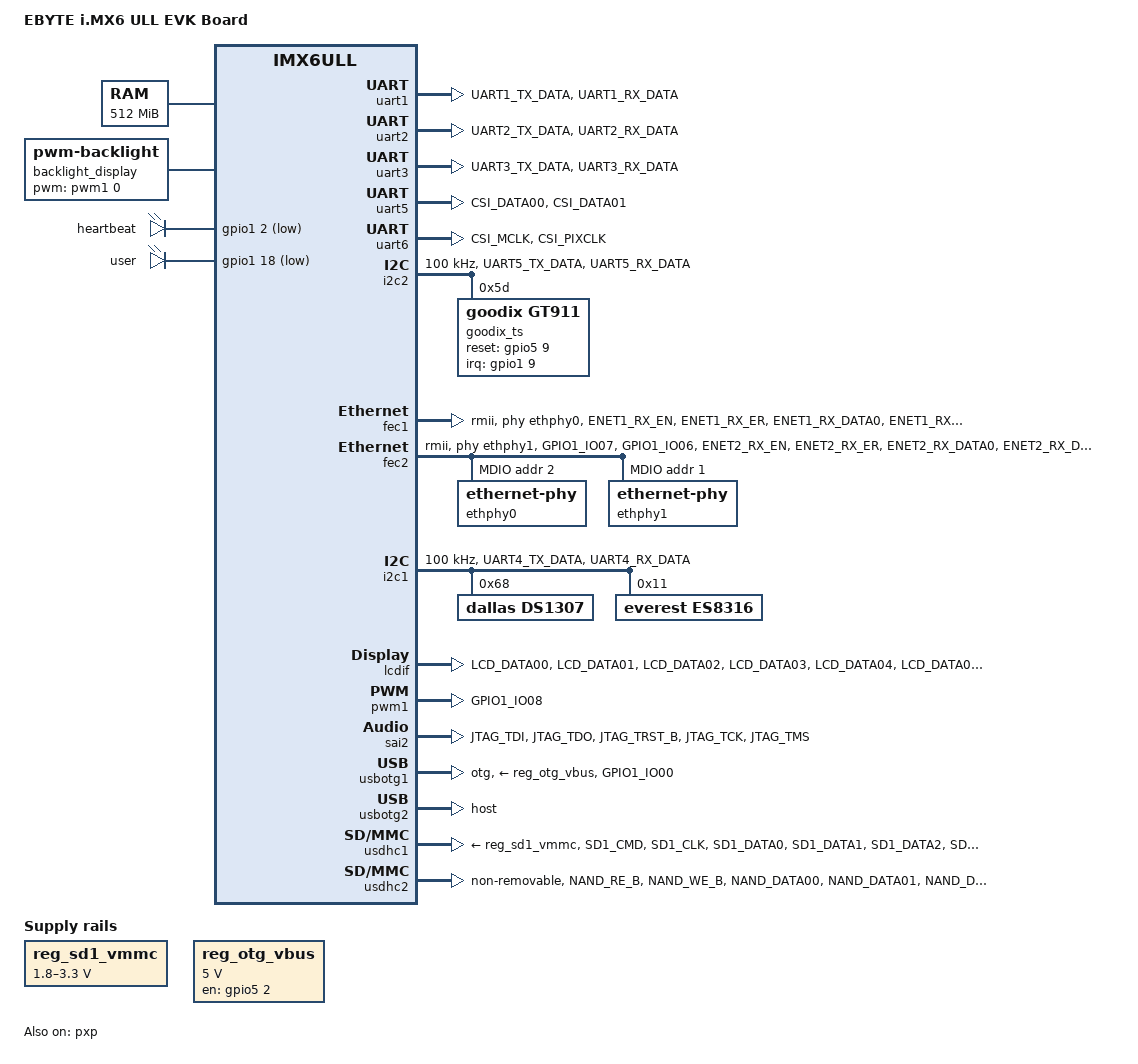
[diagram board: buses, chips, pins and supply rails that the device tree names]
// SPDX-License-Identifier: (GPL-2.0 OR MIT)
//
// Copyright (C) 2016 Freescale Semiconductor, Inc.

/dts-v1/;

#include "imx6ull.dtsi"
#include <dt-bindings/phy/jlsemi-dt-phy.h>

/ {
	model = "EBYTE i.MX6 ULL EVK Board";
	compatible = "ebyte,imx6ull-evk-board", "fsl,imx6ull";

	chosen {
		stdout-path = &uart1;
	};

	memory@80000000 {
		device_type = "memory";
		reg = <0x80000000 0x20000000>;
	};

	reserved-memory {
		#address-cells = <1>;
		#size-cells = <1>;
		ranges;

		linux,cma {
			compatible = "shared-dma-pool";
			reusable;
			size = <0x8000000>;
			linux,cma-default;
		};
	};

	pxp_v4l2 {
		compatible = "fsl,imx6ul-pxp-v4l2", "fsl,imx6sx-pxp-v4l2", "fsl,imx6sl-pxp-v4l2";
		status = "okay";
	};

	backlight_display: backlight-display {
		compatible = "pwm-backlight";
		pwms = <&pwm1 0 1000000>;
		brightness-levels = <0 4 8 16 32 64 128 255>;
		default-brightness-level = <7>;
		status = "okay";
	};

	reg_sd1_vmmc: regulator-sd1-vmmc {
		regulator-type ="voltage";
		compatible = "regulator-gpio";
		pinctrl-names = "default";
		pinctrl-0 = <&pinctrl_sd1_vselect>;
		regulator-name = "VSD_3V3_1V8";
		regulator-min-microvolt = <1800000>;
		regulator-max-microvolt = <3300000>;
		gpio = <&gpio1 5 GPIO_ACTIVE_HIGH>;
		states = <3300000 0x0 1800000 0x1>;
	};

	reg_otg_vbus: regulator-usbotg1_vbus {
		compatible = "regulator-fixed";
		regulator-type ="voltage";
		pinctrl-names = "default";
		pinctrl-0 = <&pinctrl_otg_vbus>;
		regulator-name = "VBUS_5V";
		regulator-min-microvolt = <5000000>;
		regulator-max-microvolt = <5000000>;
		gpio = <&gpio5 2 GPIO_ACTIVE_HIGH>;
		enable-active-high;
	};

	sound-es8316 {
		compatible = "simple-audio-card";
		simple-audio-card,name = "ES8316";
		simple-audio-card,format = "i2s";

		simple-audio-card,widgets =
			"Microphone", "MIC Jack",
			"Headphone", "Headphones";
		simple-audio-card,routing =
			"MIC1", "MIC Jack",	/* mic2 is link to GND */
			"Headphones", "HPOL",
			"Headphones", "HPOR";

		simple-audio-card,cpu {
			sound-dai = <&sai2>;
		};

		dailink_master: simple-audio-card,codec {
			sound-dai = <&es8316>;
		};
	};

	leds: leds@0 {
		compatible = "gpio-leds";
		pinctrl-names = "default";
		pinctrl-0 = <&pinctrl_gpio_leds>;

		heartbeat {
			label = "heartbeat";
			gpios = <&gpio1 2 GPIO_ACTIVE_LOW>;
			linux,default-trigger = "heartbeat";
			default-state = "on";
		};

		user {
			label = "user";
			gpios = <&gpio1 18 GPIO_ACTIVE_LOW>;
			default-state = "off";
		};
	};
};

&snvs_poweroff {
	status = "okay";
	value = <0x340060>;
	mask = <0x340060>;
};

&snvs_pwrkey {
	status = "disabled";	// disable short press shutdown function
};

&pxp {
	status = "okay";
};

&uart1 {
	pinctrl-names = "default";
	pinctrl-0 = <&pinctrl_uart1>;
	status = "okay";
};

&uart2 {
	pinctrl-names = "default";
	pinctrl-0 = <&pinctrl_uart2>;
	status = "okay";
};

&uart3 {
	pinctrl-names = "default";
	pinctrl-0 = <&pinctrl_uart3>;
	status = "okay";
};

&uart5 {
	pinctrl-names = "default";
	pinctrl-0 = <&pinctrl_uart5>;
	status = "okay";
};

&uart6 {
	pinctrl-names = "default";
	pinctrl-0 = <&pinctrl_uart6>;
	status = "okay";
};

&i2c2 {
	clock-frequency = <100000>;
	pinctrl-names = "default";
	pinctrl-0 = <&pinctrl_i2c2>;
	status = "okay";

	goodix_ts@5d {
		compatible = "goodix,gt911";
		reg = <0x5d>;
		touchscreen-size-x = <1024>;
		touchscreen-size-y = <600>;
		pinctrl-0 = <&ts_int_pin &pinctrl_sii902x_reset>;
		reset-gpio = <&gpio5 9  GPIO_ACTIVE_HIGH>;
		irq-gpio = <&gpio1 9  GPIO_ACTIVE_HIGH>;
		interrupt-parent = <&gpio1>;
		interrupts = <9 0>;
		status = "okay";
	};
};

&fec1 {
	pinctrl-names = "default";
	pinctrl-0 = <&pinctrl_enet1
		     &pinctrl_fec1_reset>;
	phy-mode = "rmii";
	phy-handle = <&ethphy0>;
	phy-reset-gpios = <&gpio5 7 GPIO_ACTIVE_LOW>;
	phy-reset-duration = <200>;
	phy-reset-post-delay = <150>;
	status = "okay";
};

&fec2 {
	pinctrl-names = "default";
	pinctrl-0 = <&pinctrl_enet2
		     &pinctrl_fec2_reset>;
	phy-mode = "rmii";
	phy-handle = <&ethphy1>;
	phy-reset-gpios = <&gpio5 8 GPIO_ACTIVE_LOW>;
	phy-reset-duration = <200>;
	phy-reset-post-delay = <150>;
	status = "okay";

	mdio {
		#address-cells = <1>;
		#size-cells = <0>;

		ethphy0: ethernet-phy@2 {
			reg = <2>;
			jl1xxx,led-enable = <(JL1XXX_LED_STATIC_OP_EN | JL1XXX_LED_MODE_EN)>;
			jl1xxx,led-mode = <(JL1XXX_LED0_100_LINK | \
				 JL1XXX_LED0_10_LINK | \
				 JL1XXX_LED1_100_ACTIVITY | \
				 JL1XXX_LED1_10_ACTIVITY)>;
		};

		ethphy1: ethernet-phy@1 {
			reg = <1>;
			jl1xxx,led-enable = <(JL1XXX_LED_STATIC_OP_EN | JL1XXX_LED_MODE_EN)>;
			jl1xxx,led-mode = <(JL1XXX_LED0_100_LINK | \
				 JL1XXX_LED0_10_LINK | \
				 JL1XXX_LED1_100_ACTIVITY | \
				 JL1XXX_LED1_10_ACTIVITY)>;
		};
	};
};

&snvs_rtc {
	status = "disabled";
};

&clks {
	assigned-clocks = <&clks IMX6UL_CLK_PLL3_PFD2>,
			  <&clks IMX6UL_CLK_PLL4_AUDIO_DIV>;
	// Note: IMX6UL_CLK_PLL4_AUDIO_DIV must be an integer multiple of IMX6UL_CLK_SAI2
	assigned-clock-rates = <320000000>, <712704000>;
};

&i2c1 {
	clock-frequency = <100000>;
	pinctrl-names = "default";
	pinctrl-0 = <&pinctrl_i2c1>;
	status = "okay";

	ds1307: ds1307@68 {
		compatible = "dallas,ds1307";
		reg = <0x68>;
		status = "okay";
	};

	es8316: es8316@11 {
 		#sound-dai-cells = <0>;
		compatible = "everest,es8316";
		reg = <0x11>;
 		status = "okay";

		assigned-clocks = <&clks IMX6UL_CLK_SAI2_SEL>,
				<&clks IMX6UL_CLK_SAI2>;
		assigned-clock-parents = <&clks IMX6UL_CLK_PLL4_AUDIO_DIV>;
		assigned-clock-rates = <0>, <12288000>;
 		clocks = <&clks IMX6UL_CLK_SAI2>;
 		clock-names = "mclk";
	};

};

&lcdif {
	assigned-clocks = <&clks IMX6UL_CLK_LCDIF_PRE_SEL>;
	assigned-clock-parents = <&clks IMX6UL_CLK_PLL5_VIDEO_DIV>;
	pinctrl-names = "default";
	pinctrl-0 = <&pinctrl_lcdif_dat
		     &pinctrl_lcdif_ctrl>;
	display = <&display0>;
	status = "okay";

	display0: display@0 {
		bits-per-pixel = <24>;
		bus-width = <24>;

		display-timings {
			native-mode = <&timing0>;

            timing0: timing0 {
				clock-frequency = <51200000>;
				hactive = <1024>;
				vactive = <600>;
				hfront-porch = <160>;
				hback-porch = <136>;
				hsync-len = <24>;
				vfront-porch = <12>;
				vback-porch = <21>;
				vsync-len = <2>;

				hsync-active = <0>;
				vsync-active = <0>;
				de-active = <1>;
				pixelclk-active = <0>;
			};
		};
	};
};

&pwm1 {
	#pwm-cells = <2>;
	pinctrl-names = "default";
	pinctrl-0 = <&pinctrl_pwm1>;
	status = "okay";
};

&sai2 {
	pinctrl-names = "default";
	pinctrl-0 = <&pinctrl_sai2>;
	fsl,sai-mclk-direction-output;
	status = "okay";
};

&usbotg1 {
	dr_mode = "otg";
	pinctrl-names = "default";
	pinctrl-0 = <&pinctrl_usb_otg1>;
	vbus-supply = <&reg_otg_vbus>;
	status = "okay";
};

&usbotg2 {
	dr_mode = "host";
	disable-over-current;
	status = "okay";
};

&usbphy1 {
	fsl,tx-d-cal = <106>;
};

&usbphy2 {
	fsl,tx-d-cal = <106>;
};

&usdhc1 {
	pinctrl-names = "default", "state_100mhz", "state_200mhz";
	pinctrl-0 = <&pinctrl_usdhc1>;
	pinctrl-1 = <&pinctrl_usdhc1_100mhz>;
	pinctrl-2 = <&pinctrl_usdhc1_200mhz>;
	cd-gpios = <&gpio1 19 GPIO_ACTIVE_LOW>;
	keep-power-in-suspend;
	wakeup-source;
	vmmc-supply = <&reg_sd1_vmmc>;
	voltage-ranges = <1800 3300>;
	status = "okay";
};

&usdhc2 {
	pinctrl-names = "default";
	pinctrl-0 = <&pinctrl_usdhc2>;
	non-removable;
	keep-power-in-suspend;
	wakeup-source;
	status = "okay";
};

&wdog1 {
	pinctrl-names = "default";
	pinctrl-0 = <&pinctrl_wdog>;
	fsl,ext-reset-output;
};

&iomuxc {
	pinctrl-names = "default";

	pinctrl_uart1: uart1grp {
		fsl,pins = <
			MX6UL_PAD_UART1_TX_DATA__UART1_DCE_TX 0x1b0b1
			MX6UL_PAD_UART1_RX_DATA__UART1_DCE_RX 0x1b0b1
		>;
	};

	pinctrl_uart2: uart2grp {
		fsl,pins = <
			MX6UL_PAD_UART2_TX_DATA__UART2_DCE_TX 0x1b0b1
			MX6UL_PAD_UART2_RX_DATA__UART2_DCE_RX 0x1b0b1
		>;
	};

	pinctrl_uart3: uart3grp {
		fsl,pins = <
			MX6UL_PAD_UART3_TX_DATA__UART3_DCE_TX 0x1b0b1
			MX6UL_PAD_UART3_RX_DATA__UART3_DCE_RX 0x1b0b1
		>;
	};

	pinctrl_uart5: uart5grp {
		fsl,pins = <
			MX6UL_PAD_CSI_DATA00__UART5_DCE_TX 0x1b0b1
			MX6UL_PAD_CSI_DATA01__UART5_DCE_RX 0x1b0b1
		>;
	};

	pinctrl_uart6: uart6grp {
		fsl,pins = <
			MX6UL_PAD_CSI_MCLK__UART6_DCE_TX 0x1b0b1
			MX6UL_PAD_CSI_PIXCLK__UART6_DCE_RX 0x1b0b1
		>;
	};

	pinctrl_enet1: enet1grp {
		fsl,pins = <
			MX6UL_PAD_ENET1_RX_EN__ENET1_RX_EN	0x1b0b0
			MX6UL_PAD_ENET1_RX_ER__ENET1_RX_ER	0x1b0b0
			MX6UL_PAD_ENET1_RX_DATA0__ENET1_RDATA00	0x1b0b0
			MX6UL_PAD_ENET1_RX_DATA1__ENET1_RDATA01	0x1b0b0
			MX6UL_PAD_ENET1_TX_EN__ENET1_TX_EN	0x1b0b0
			MX6UL_PAD_ENET1_TX_DATA0__ENET1_TDATA00	0x1b0b0
			MX6UL_PAD_ENET1_TX_DATA1__ENET1_TDATA01	0x1b0b0
			MX6UL_PAD_ENET1_TX_CLK__ENET1_REF_CLK1	0x4001B009
		>;
	};

	pinctrl_enet2: enet2grp {
		fsl,pins = <
			MX6UL_PAD_GPIO1_IO07__ENET2_MDC		0x1b0b0
			MX6UL_PAD_GPIO1_IO06__ENET2_MDIO	0x1b0b0
			MX6UL_PAD_ENET2_RX_EN__ENET2_RX_EN	0x1b0b0
			MX6UL_PAD_ENET2_RX_ER__ENET2_RX_ER	0x1b0b0
			MX6UL_PAD_ENET2_RX_DATA0__ENET2_RDATA00	0x1b0b0
			MX6UL_PAD_ENET2_RX_DATA1__ENET2_RDATA01	0x1b0b0
			MX6UL_PAD_ENET2_TX_EN__ENET2_TX_EN	0x1b0b0
			MX6UL_PAD_ENET2_TX_DATA0__ENET2_TDATA00	0x1b0b0
			MX6UL_PAD_ENET2_TX_DATA1__ENET2_TDATA01	0x1b0b0
			MX6UL_PAD_ENET2_TX_CLK__ENET2_REF_CLK2	0x4001B009
		>;
	};

	pinctrl_i2c1: i2c1grp {
		fsl,pins = <
			MX6UL_PAD_UART4_TX_DATA__I2C1_SCL 0x4001b8b0
			MX6UL_PAD_UART4_RX_DATA__I2C1_SDA 0x4001b8b0
		>;
	};

	pinctrl_i2c2: i2c2grp {
		fsl,pins = <
			MX6UL_PAD_UART5_TX_DATA__I2C2_SCL 0x4001b8b0
			MX6UL_PAD_UART5_RX_DATA__I2C2_SDA 0x4001b8b0
		>;
	};

	pinctrl_lcdif_dat: lcdifdatgrp {
		fsl,pins = <
			MX6UL_PAD_LCD_DATA00__LCDIF_DATA00  0x48
			MX6UL_PAD_LCD_DATA01__LCDIF_DATA01  0x48
			MX6UL_PAD_LCD_DATA02__LCDIF_DATA02  0x48
			MX6UL_PAD_LCD_DATA03__LCDIF_DATA03  0x48
			MX6UL_PAD_LCD_DATA04__LCDIF_DATA04  0x48
			MX6UL_PAD_LCD_DATA05__LCDIF_DATA05  0x48
			MX6UL_PAD_LCD_DATA06__LCDIF_DATA06  0x48
			MX6UL_PAD_LCD_DATA07__LCDIF_DATA07  0x48
			MX6UL_PAD_LCD_DATA08__LCDIF_DATA08  0x48
			MX6UL_PAD_LCD_DATA09__LCDIF_DATA09  0x48
			MX6UL_PAD_LCD_DATA10__LCDIF_DATA10  0x48
			MX6UL_PAD_LCD_DATA11__LCDIF_DATA11  0x48
			MX6UL_PAD_LCD_DATA12__LCDIF_DATA12  0x48
			MX6UL_PAD_LCD_DATA13__LCDIF_DATA13  0x48
			MX6UL_PAD_LCD_DATA14__LCDIF_DATA14  0x48
			MX6UL_PAD_LCD_DATA15__LCDIF_DATA15  0x48
			MX6UL_PAD_LCD_DATA16__LCDIF_DATA16  0x48
			MX6UL_PAD_LCD_DATA17__LCDIF_DATA17  0x48
			MX6UL_PAD_LCD_DATA18__LCDIF_DATA18  0x48
			MX6UL_PAD_LCD_DATA19__LCDIF_DATA19  0x48
			MX6UL_PAD_LCD_DATA20__LCDIF_DATA20  0x48
			MX6UL_PAD_LCD_DATA21__LCDIF_DATA21  0x48
			MX6UL_PAD_LCD_DATA22__LCDIF_DATA22  0x48
			MX6UL_PAD_LCD_DATA23__LCDIF_DATA23  0x48
		>;
	};

	pinctrl_lcdif_ctrl: lcdifctrlgrp {
		fsl,pins = <
            MX6UL_PAD_LCD_ENABLE__LCDIF_ENABLE  0x48
            MX6UL_PAD_LCD_HSYNC__LCDIF_HSYNC    0x48
            MX6UL_PAD_LCD_VSYNC__LCDIF_VSYNC    0x48
            MX6UL_PAD_LCD_CLK__LCDIF_CLK        0x48
		>;
	};

	pinctrl_es8316_det: es8316_detgrp {
		fsl,pins = <
			MX6UL_PAD_GPIO1_IO04__GPIO1_IO04	0x17059
		>;
	};

	pinctrl_sai2: sai2grp {
		fsl,pins = <
			MX6UL_PAD_JTAG_TDI__SAI2_TX_BCLK	0x17088
			MX6UL_PAD_JTAG_TDO__SAI2_TX_SYNC	0x17088
			MX6UL_PAD_JTAG_TRST_B__SAI2_TX_DATA	0x11088
			MX6UL_PAD_JTAG_TCK__SAI2_RX_DATA	0x11088
			MX6UL_PAD_JTAG_TMS__SAI2_MCLK		0x17088
		>;
	};

	pinctrl_pwm1: pwm1grp {
		fsl,pins = <
			MX6UL_PAD_GPIO1_IO08__PWM1_OUT   0x11088
		>;
	};

	pinctrl_usb_otg1: usbotg1grp {
		fsl,pins = <
			MX6UL_PAD_GPIO1_IO00__ANATOP_OTG1_ID	0x13058
		>;
	};

	pinctrl_usdhc1: usdhc1grp {
		fsl,pins = <
			MX6UL_PAD_SD1_CMD__USDHC1_CMD     	0x17059
			MX6UL_PAD_SD1_CLK__USDHC1_CLK		0x10071
			MX6UL_PAD_SD1_DATA0__USDHC1_DATA0 	0x17059
			MX6UL_PAD_SD1_DATA1__USDHC1_DATA1 	0x17059
			MX6UL_PAD_SD1_DATA2__USDHC1_DATA2 	0x17059
			MX6UL_PAD_SD1_DATA3__USDHC1_DATA3 	0x17059
			MX6UL_PAD_UART1_RTS_B__GPIO1_IO19   0x17059 /* SD1 CD */
		>;
	};

	pinctrl_usdhc1_100mhz: usdhc1grp100mhz {
		fsl,pins = <
			MX6UL_PAD_SD1_CMD__USDHC1_CMD     0x170b9
			MX6UL_PAD_SD1_CLK__USDHC1_CLK     0x100b9
			MX6UL_PAD_SD1_DATA0__USDHC1_DATA0 0x170b9
			MX6UL_PAD_SD1_DATA1__USDHC1_DATA1 0x170b9
			MX6UL_PAD_SD1_DATA2__USDHC1_DATA2 0x170b9
			MX6UL_PAD_SD1_DATA3__USDHC1_DATA3 0x170b9
		>;
	};

	pinctrl_usdhc1_200mhz: usdhc1grp200mhz {
		fsl,pins = <
			MX6UL_PAD_SD1_CMD__USDHC1_CMD     0x170f9
			MX6UL_PAD_SD1_CLK__USDHC1_CLK     0x100f9
			MX6UL_PAD_SD1_DATA0__USDHC1_DATA0 0x170f9
			MX6UL_PAD_SD1_DATA1__USDHC1_DATA1 0x170f9
			MX6UL_PAD_SD1_DATA2__USDHC1_DATA2 0x170f9
			MX6UL_PAD_SD1_DATA3__USDHC1_DATA3 0x170f9
		>;
	};

	pinctrl_usdhc2: usdhc2grp {
		fsl,pins = <
			MX6UL_PAD_NAND_RE_B__USDHC2_CLK     0x17059
			MX6UL_PAD_NAND_WE_B__USDHC2_CMD     0x17059
			MX6UL_PAD_NAND_DATA00__USDHC2_DATA0 0x17059
			MX6UL_PAD_NAND_DATA01__USDHC2_DATA1 0x17059
			MX6UL_PAD_NAND_DATA02__USDHC2_DATA2 0x17059
			MX6UL_PAD_NAND_DATA03__USDHC2_DATA3 0x17059
		>;
	};

	pinctrl_wdog: wdoggrp {
		fsl,pins = <
			MX6UL_PAD_LCD_RESET__WDOG1_WDOG_ANY    0x30b0
		>;
	};

	pinctrl_sd1_vselect: sd1vselectgrp {
		fsl,pins = <
			MX6UL_PAD_GPIO1_IO05__USDHC1_VSELECT	0x17059
		>;
	};

	ts_int_pin: ts_int_pin_mux {
		fsl,pins = <
			MX6UL_PAD_GPIO1_IO09__GPIO1_IO09		0x79
		>;
	};

	pinctrl_sii902x_int: sii902x_intgrp {
		fsl,pins = <
			MX6UL_PAD_JTAG_MOD__GPIO1_IO10			0x79
		>;
	};

	pinctrl_gpio_leds: gpio_leds {
		fsl,pins = <
			MX6UL_PAD_GPIO1_IO02__GPIO1_IO02	0x17059
			MX6UL_PAD_UART1_CTS_B__GPIO1_IO18	0x17059
		>;
	};

};

&iomuxc_snvs {
	pinctrl-names = "default_snvs";
    pinctrl-0 = <&pinctrl_hog_2>;
    imx6ul-evk {
		pinctrl_hog_2: snvs_hog_2 {
			fsl,pins = <
				MX6ULL_PAD_SNVS_TAMPER2__GPIO5_IO02	0x13059
				MX6ULL_PAD_SNVS_TAMPER3__GPIO5_IO03	0x13059
				MX6ULL_PAD_SNVS_TAMPER5__GPIO5_IO05	0x13059
				MX6ULL_PAD_SNVS_TAMPER6__GPIO5_IO06	0x13059
				MX6ULL_PAD_SNVS_TAMPER0__GPIO5_IO00	0x13059
				MX6ULL_PAD_SNVS_TAMPER1__GPIO5_IO01	0x13059
				MX6ULL_PAD_SNVS_TAMPER4__GPIO5_IO04	0x13059
			>;
		};

		pinctrl_otg_vbus: usbotg1_vbus {
			fsl,pins = <
				MX6ULL_PAD_SNVS_TAMPER2__GPIO5_IO02	0x13028
			>;
		};

		pinctrl_sii902x_reset: sii902x_resetgrp {
			fsl,pins = <
				MX6ULL_PAD_SNVS_TAMPER9__GPIO5_IO09		0x79
			>;
		};

		pinctrl_fec1_reset: fec1_resetgrp {
			fsl,pins = <
				MX6ULL_PAD_SNVS_TAMPER7__GPIO5_IO07	0x18b0
			>;
		};

		pinctrl_fec2_reset: fec2_resetgrp {
			fsl,pins = <
				MX6ULL_PAD_SNVS_TAMPER8__GPIO5_IO08	0x18b0
			>;
		};

    };

};
